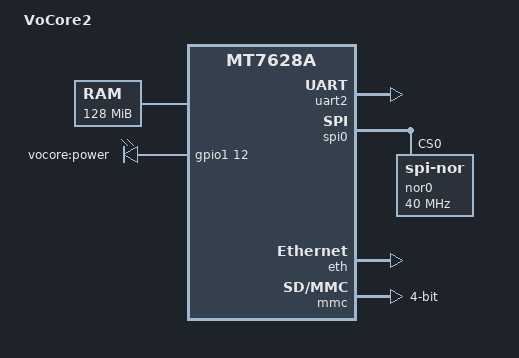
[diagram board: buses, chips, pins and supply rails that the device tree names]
// SPDX-License-Identifier: GPL-2.0+
/*
 * Copyright (C) 2019 Mauro Condarelli <mc5686@mclink.it>
 */

/dts-v1/;

#include "mt7628a.dtsi"
#include <dt-bindings/gpio/gpio.h>

/ {
	compatible = "vocore,vocore2", "ralink,mt7628a-soc";
	model = "VoCore2";

	aliases {
		serial0 = &uart2;
		spi0 = &spi0;
	};

	memory@0 {
		device_type = "memory";
		reg = <0x0 0x08000000>;
	};
	leds {
		compatible = "gpio-leds";

		power {
			label = "vocore:power";
			gpios = <&gpio1 12 GPIO_ACTIVE_HIGH>;
			default-state = "off";
		};
	};

	chosen {
		bootargs = "console=ttyS2,115200";
		stdout-path = &uart2;
	};
};

&pinctrl {
	state_default: pin_state {
		p0led {
			groups = "p0led_a";
			function = "led";
		};
	};
};

&uart2 {
	status = "okay";

	pinctrl-names = "default";
	pinctrl-0 = <&uart2_pwm_pins>;
};

&spi0 {
	status = "okay";
	nor0: spi-flash@0 {
		#address-cells = <1>;
		#size-cells = <1>;
		compatible = "jedec,spi-nor";
		spi-max-frequency = <40000000>;
		reg = <0>;
	};
};

&eth {
	status = "okay";

	pinctrl-names = "default";
	pinctrl-0 = <&ephy_iot_mode>;
	mediatek,poll-link-phy = <0>;
};

&mmc {
	status = "okay";

	bus-width = <4>;
	max-frequency = <48000000>;
	cap-sd-highspeed;
	cap-mmc-highspeed;

	pinctrl-names = "default";
	pinctrl-0 = <&sd_iot_mode>;
};
